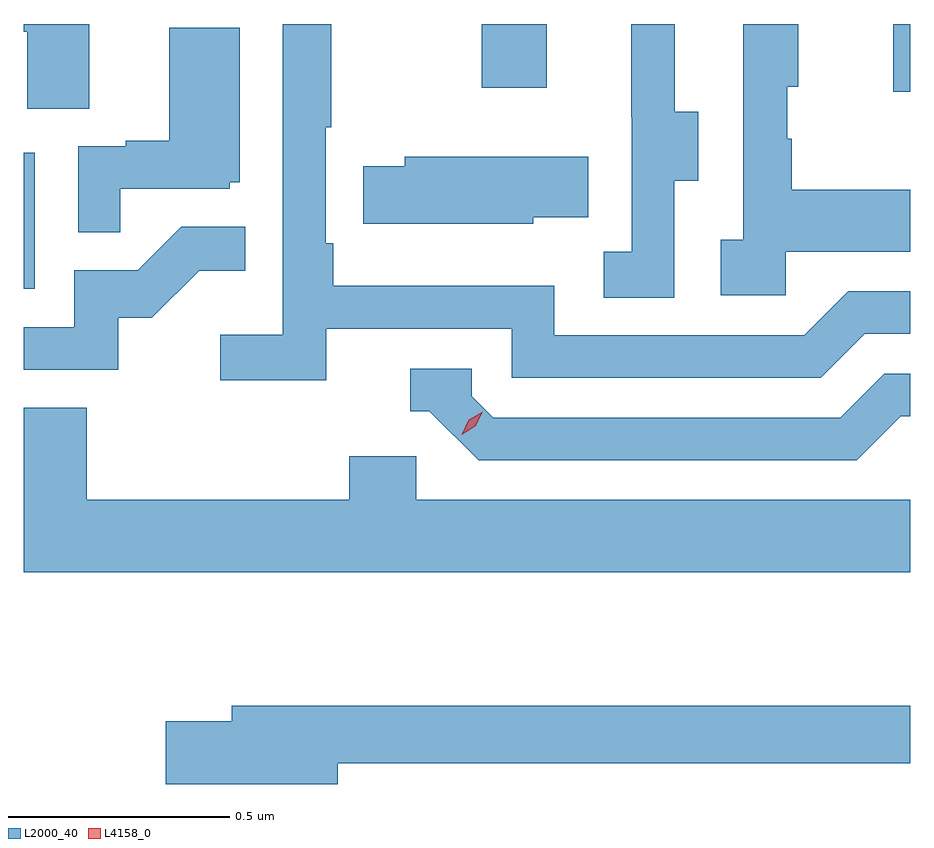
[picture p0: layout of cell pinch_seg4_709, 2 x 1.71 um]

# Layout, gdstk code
import gdstk
lib = gdstk.Library(unit=1e-6, precision=1e-09)
def R(c, l, rs):  # rectangles x0, y0, x1, y1
    for r in rs: c.add(gdstk.rectangle(r[:2], r[2:], *l))
def P(c, l, *ps):  # polygons
    for p in ps: c.add(gdstk.Polygon(p, *l))
L2000_40 = (2000, 40)
L4158_0 = (4158, 0)

pinch_seg4_709 = lib.new_cell('pinch_seg4_709')
R(pinch_seg4_709, L2000_40, [(1113.177,754.836,1113.202,755.143), (1115.138,755.28,1115.177,755.433), (1114.21,755.289,1114.357,755.433)])
P(pinch_seg4_709, L2000_40, [(1113.325,755.433),(1113.177,755.433),(1113.177,755.416),(1113.185,755.416),(1113.185,755.242),(1113.325,755.242)],
  [(1114.644,755.08),(1114.699,755.08),(1114.699,755.235),(1114.645,755.235),(1114.645,755.433),(1114.547,755.433),(1114.547,755.223),(1114.548,755.223),(1114.548,754.919),(1114.485,754.919),(1114.485,754.816),(1114.644,754.816)],
  [(1114.896,754.919),(1115.177,754.919),(1115.177,755.059),(1114.909,755.059),(1114.909,755.174),(1114.899,755.174),(1114.899,755.292),(1114.924,755.292),(1114.924,755.433),(1114.8,755.433),(1114.8,754.946),(1114.749,754.946),(1114.749,754.821),(1114.896,754.821)],
  [(1113.86,754.746),(1114.278,754.746),(1114.278,754.635),(1114.975,754.635),(1115.074,754.734),(1115.177,754.734),(1115.177,754.83),(1115.037,754.83),(1114.938,754.731),(1114.374,754.731),(1114.374,754.843),(1113.875,754.843),(1113.875,754.939),(1113.858,754.939),(1113.858,755.2),(1113.871,755.2),(1113.871,755.433),(1113.762,755.433),(1113.762,754.732),(1113.621,754.732),(1113.621,754.63),(1113.86,754.63)],
  [(1113.395,755.061),(1113.642,755.061),(1113.642,755.076),(1113.664,755.076),(1113.664,755.425),(1113.506,755.425),(1113.506,755.17),(1113.407,755.17),(1113.407,755.157),(1113.3,755.157),(1113.3,754.963),(1113.395,754.963)],
  [(1114.326,754.997),(1114.451,754.997),(1114.451,755.134),(1114.037,755.134),(1114.037,755.112),(1113.943,755.112),(1113.943,754.983),(1114.054,754.983),(1114.054,754.982),(1114.326,754.982)],
  [(1113.39,754.77),(1113.466,754.77),(1113.573,754.877),(1113.677,754.877),(1113.677,754.976),(1113.533,754.976),(1113.435,754.878),(1113.291,754.878),(1113.291,754.749),(1113.177,754.749),(1113.177,754.653),(1113.39,754.653)],
  [(1115.155,754.548),(1115.177,754.548),(1115.177,754.644),(1115.118,754.644),(1115.019,754.545),(1114.236,754.545),(1114.188,754.593),(1114.188,754.656),(1114.049,754.656),(1114.049,754.56),(1114.092,754.56),(1114.203,754.449),(1115.056,754.449)],
  [(1115.177,754.36),(1114.062,754.36),(1114.062,754.458),(1113.911,754.458),(1113.911,754.36),(1113.32,754.36),(1113.32,754.568),(1113.177,754.568),(1113.177,754.196),(1115.177,754.196)],
  [(1113.886,753.766),(1115.177,753.766),(1115.177,753.895),(1113.647,753.895),(1113.647,753.861),(1113.498,753.861),(1113.498,753.719),(1113.886,753.719)])
P(pinch_seg4_709, L4158_0, [(1114.165,754.507),(1114.165,754.507),(1114.181,754.54),(1114.212,754.559),(1114.212,754.559),(1114.212,754.559),(1114.196,754.526),(1114.165,754.507)])

lib.write_gds('pinch_seg4_709.gds')
